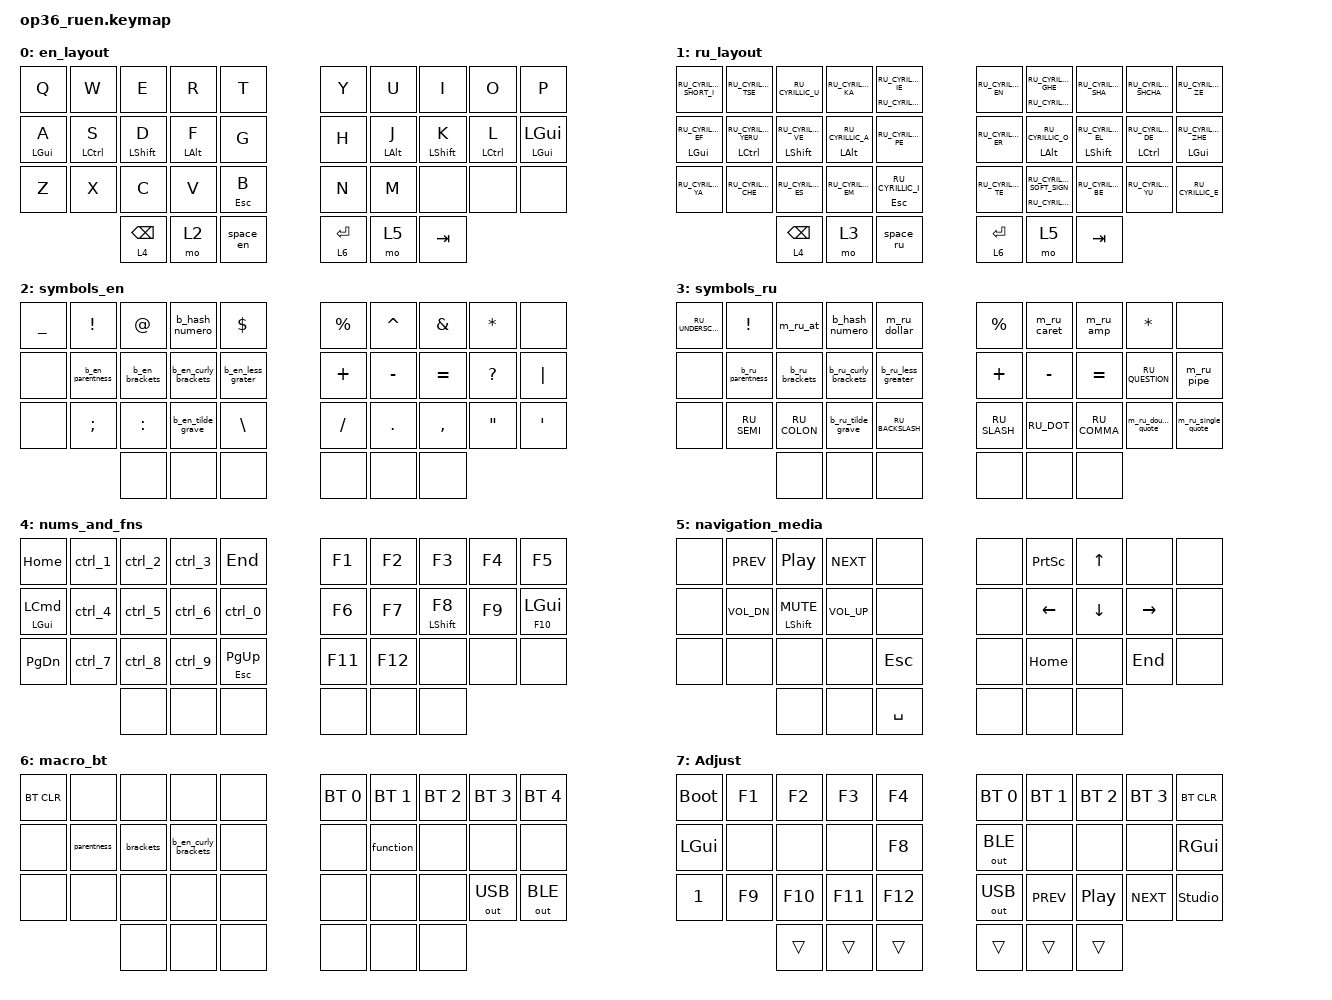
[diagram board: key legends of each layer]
#include "keys_ru.h"
#include <behaviors.dtsi>
#include <dt-bindings/zmk/bt.h>
#include <dt-bindings/zmk/keys.h>
#include <dt-bindings/zmk/outputs.h>

/ {
    behaviors {
        hml: home_row_mod_left {
            compatible = "zmk,behavior-hold-tap";
            #binding-cells = <2>;
            flavor = "balanced";
            require-prior-idle-ms = <150>;
            tapping-term-ms = <280>;
            quick-tap-ms = <175>;
            bindings = <&kp>, <&kp>;

            hold-trigger-key-positions = <5 6 7 8 9 15 16 17 18 19 25 26 27 28 29 33 34 35>;
            hold-trigger-on-release;
        };

        hmr: home_row_mod_right {
            compatible = "zmk,behavior-hold-tap";
            #binding-cells = <2>;
            flavor = "balanced";
            require-prior-idle-ms = <150>;
            tapping-term-ms = <280>;
            quick-tap-ms = <175>;
            bindings = <&kp>, <&kp>;

            hold-trigger-key-positions = <0 1 2 3 4 10 11 12 13 14 20 21 22 23 24 30 31 32>;
            hold-trigger-on-release;
        };

        ctrl_1: ctrl_1 {
            compatible = "zmk,behavior-tap-dance";
            label = "CTRL_1";
            #binding-cells = <0>;
            bindings = <&kp N1>, <&ctrl_one>;
        };

        ctrl_2: ctrl_2 {
            compatible = "zmk,behavior-tap-dance";
            label = "CTRL_2";
            #binding-cells = <0>;
            bindings = <&kp N2>, <&ctrl_two>;
        };

        ctrl_3: ctrl_3 {
            compatible = "zmk,behavior-tap-dance";
            label = "CTRL_3";
            #binding-cells = <0>;
            bindings = <&kp N3>, <&ctrl_three>;
        };

        ctrl_4: ctrl_4 {
            compatible = "zmk,behavior-tap-dance";
            label = "CTRL_4";
            #binding-cells = <0>;
            bindings = <&kp N4>, <&ctrl_four>;
        };

        ctrl_5: ctrl_5 {
            compatible = "zmk,behavior-tap-dance";
            label = "CTRL_5";
            #binding-cells = <0>;
            bindings = <&kp N5>, <&ctrl_five>;
        };

        ctrl_6: ctrl_6 {
            compatible = "zmk,behavior-tap-dance";
            label = "CTRL_6";
            #binding-cells = <0>;
            bindings = <&kp N6>, <&ctrl_six>;
        };

        ctrl_7: ctrl_7 {
            compatible = "zmk,behavior-tap-dance";
            label = "CTRL_7";
            #binding-cells = <0>;
            bindings = <&kp N7>, <&ctrl_seven>;
        };

        ctrl_8: ctrl_8 {
            compatible = "zmk,behavior-tap-dance";
            label = "CTRL_8";
            #binding-cells = <0>;
            bindings = <&kp N8>, <&ctrl_eight>;
        };

        ctrl_9: ctrl_9 {
            compatible = "zmk,behavior-tap-dance";
            label = "CTRL_9";
            #binding-cells = <0>;
            bindings = <&kp N9>, <&ctrl_nine>;
        };

        ctrl_0: ctrl_0 {
            compatible = "zmk,behavior-tap-dance";
            label = "CTRL_0";
            #binding-cells = <0>;
            bindings = <&kp N0>, <&ctrl_zero>;
        };

        space_en: space_en {
            compatible = "zmk,behavior-tap-dance";
            label = "SPACE_EN";
            #binding-cells = <0>;
            bindings = <&kp SPACE>, <&space_comma_en>, <&space_dot_en>;
        };

        space_ru: space_ru {
            compatible = "zmk,behavior-tap-dance";
            label = "SPACE_RU";
            #binding-cells = <0>;
            bindings = <&kp SPACE>, <&space_comma_ru>, <&space_dot_ru>;
        };

        b_en_curly_brackets: b_en_curly_brackets {
            compatible = "zmk,behavior-tap-dance";
            label = "B_EN_CURLY_BRACKETS";
            #binding-cells = <0>;
            bindings = <&kp LEFT_BRACE>, <&kp RIGHT_BRACE>;
        };

        b_en_brackets: b_en_brackets {
            compatible = "zmk,behavior-tap-dance";
            label = "B_EN_BRACKETS";
            #binding-cells = <0>;
            bindings = <&kp LEFT_BRACKET>, <&kp RIGHT_BRACKET>;
        };

        b_en_parentness: b_en_parentness {
            compatible = "zmk,behavior-tap-dance";
            label = "B_EN_PARENTNESS";
            #binding-cells = <0>;
            bindings = <&kp LPAR>, <&kp RPAR>;
        };

        b_en_less_grater: b_en_less_grater {
            compatible = "zmk,behavior-tap-dance";
            label = "B_EN_LESS_GRATER";
            #binding-cells = <0>;
            bindings = <&kp LT>, <&kp GT>;
        };

        b_ru_tilde_grave: b_ru_tilde_grave {
            compatible = "zmk,behavior-tap-dance";
            label = "B_RU_TILDE_GRAVE";
            #binding-cells = <0>;
            bindings = <&m_ru_tilde>, <&m_ru_grave>;
        };

        b_hash_numero: b_hash_numero {
            compatible = "zmk,behavior-tap-dance";
            label = "B_HASH_NUMERO";
            #binding-cells = <0>;
            bindings = <&m_ru_hash>, <&m_en_numero>;
        };

        b_ru_curly_brackets: b_ru_curly_brackets {
            compatible = "zmk,behavior-tap-dance";
            label = "B_RU_CURLY_BRACKETS";
            #binding-cells = <0>;
            bindings = <&m_ru_curly_bracket_open>, <&m_ru_curly_bracket_close>;
        };

        b_ru_brackets: b_ru_brackets {
            compatible = "zmk,behavior-tap-dance";
            label = "B_RU_BRACKETS";
            #binding-cells = <0>;
            bindings = <&m_ru_bracket_open>, <&m_ru_bracket_close>;
        };

        b_ru_parentness: b_ru_parentness {
            compatible = "zmk,behavior-tap-dance";
            label = "B_RU_PARENTNESS";
            #binding-cells = <0>;
            bindings = <&kp LPAR>, <&kp RPAR>;
        };

        b_ru_less_greater: b_ru_less_greater {
            compatible = "zmk,behavior-tap-dance";
            label = "B_RU_LESS_GREATER";
            #binding-cells = <0>;
            bindings = <&m_ru_less>, <&m_ru_greater>;
        };

        b_en_tilde_grave: b_en_tilde_grave {
            compatible = "zmk,behavior-tap-dance";
            label = "B_EN_TILDE_GRAVE";
            #binding-cells = <0>;
            bindings = <&kp TILDE>, <&kp GRAVE>;
        };
    };

    combos {
        compatible = "zmk,combos";

        switch_to_en {
            bindings = <&to_en>;
            key-positions = <2 3>;
            layers = <1>;
        };

        switch_to_ru {
            bindings = <&to_ru>;
            key-positions = <2 3>;
            layers = <0>;
        };
    };

    macros {
        parentness: parentness {
            compatible = "zmk,behavior-macro";
            #binding-cells = <0>;
            bindings = <&kp LPAR &kp RPAR &kp LEFT>;
            label = "PARENTNESS";
        };

        brackets: brackets {
            compatible = "zmk,behavior-macro";
            #binding-cells = <0>;
            bindings = <&kp LEFT_BRACKET &kp RIGHT_BRACKET &kp LEFT_ARROW>;
            label = "BRACKETS";
        };

        curly_brackets: curly_brackets {
            compatible = "zmk,behavior-macro";
            #binding-cells = <0>;
            bindings = <&kp LEFT_BRACE &kp RIGHT_BRACE &kp LEFT>;
            label = "CURLY_BRACKETS";
        };

        function: function {
            compatible = "zmk,behavior-macro";
            #binding-cells = <0>;
            bindings = <&kp F &kp U &kp N &kp C &kp T &kp I &kp O &kp N &kp SPACE &kp LPAR &kp RPAR &kp SPACE &kp LBRC &kp RET &kp LEFT_ARROW &kp LEFT &kp LEFT &kp LEFT &kp LEFT &kp LEFT>;
            label = "FUNCTION";
        };

        ctrl_one: ctrl_one {
            compatible = "zmk,behavior-macro";
            #binding-cells = <0>;
            bindings = <&kp LCTRL &kp N1>;
            label = "CTRL_ONE";
        };

        ctrl_two: ctrl_two {
            compatible = "zmk,behavior-macro";
            #binding-cells = <0>;
            bindings = <&kp LCTRL &kp NUMBER_2>;
            label = "CTRL_TWO";
        };

        ctrl_three: ctrl_three {
            compatible = "zmk,behavior-macro";
            #binding-cells = <0>;
            bindings = <&kp LCTRL &kp NUMBER_3>;
            label = "CTRL_THREE";
        };

        ctrl_four: ctrl_four {
            compatible = "zmk,behavior-macro";
            #binding-cells = <0>;
            bindings = <&kp LCTRL &kp NUMBER_4>;
            label = "CTRL_FOUR";
        };

        ctrl_five: ctrl_five {
            compatible = "zmk,behavior-macro";
            #binding-cells = <0>;
            bindings = <&kp LCTRL &kp N5>;
            label = "CTRL_FIVE";
        };

        ctrl_six: ctrl_six {
            compatible = "zmk,behavior-macro";
            #binding-cells = <0>;
            bindings = <&kp LCTRL &kp N6>;
            label = "CTRL_SIX";
        };

        ctrl_seven: ctrl_seven {
            compatible = "zmk,behavior-macro";
            #binding-cells = <0>;
            bindings = <&kp LCTRL &kp N7>;
            label = "CTRL_SEVEN";
        };

        ctrl_eight: ctrl_eight {
            compatible = "zmk,behavior-macro";
            #binding-cells = <0>;
            bindings = <&kp LCTRL &kp N8>;
            label = "CTRL_EIGHT";
        };

        ctrl_nine: ctrl_nine {
            compatible = "zmk,behavior-macro";
            #binding-cells = <0>;
            bindings = <&kp LCTRL &kp N9>;
            label = "CTRL_NINE";
        };

        ctrl_zero: ctrl_zero {
            compatible = "zmk,behavior-macro";
            #binding-cells = <0>;
            bindings = <&kp LCTRL &kp N0>;
            label = "CTRL_ZERO";
        };

        space_comma_en: space_comma_en {
            compatible = "zmk,behavior-macro";
            #binding-cells = <0>;
            bindings = <&kp COMMA &kp SPACE>;
            label = "SPACE_COMMA_EN";
        };

        space_dot_en: space_dot_en {
            compatible = "zmk,behavior-macro";
            #binding-cells = <0>;
            bindings = <&kp DOT &kp SPACE>;
            label = "SPACE_DOT_EN";
        };

        space_comma_ru: space_comma_ru {
            compatible = "zmk,behavior-macro";
            #binding-cells = <0>;
            bindings = <&kp RU_COMMA &kp SPACE>;
            label = "SPACE_COMMA_RU";
        };

        space_dot_ru: space_dot_ru {
            compatible = "zmk,behavior-macro";
            #binding-cells = <0>;
            bindings = <&kp RU_DOT &kp SPACE>;
            label = "SPACE_DOT_RU";
        };

        to_en: to_en {
            compatible = "zmk,behavior-macro";
            #binding-cells = <0>;
            bindings = <&kp LS(LALT) &to 0>;
            label = "TO_EN";
        };

        to_ru: to_ru {
            compatible = "zmk,behavior-macro";
            #binding-cells = <0>;
            bindings = <&kp LS(LALT) &to 1>;
            label = "TO_RU";
        };

        m_ru_single_quote: m_single_quote {
            compatible = "zmk,behavior-macro";
            #binding-cells = <0>;
            bindings = <&to_en &kp APOSTROPHE &to_ru>;
            label = "M_SINGLE_QUOTE";
        };

        m_ru_double_quote: m_double_quote {
            compatible = "zmk,behavior-macro";
            #binding-cells = <0>;
            bindings = <&to_en &kp DOUBLE_QUOTES &to_ru>;
            label = "M_DOUBLE_QUOTE";
        };

        m_ru_curly_bracket_open: ru_curly_brackets {
            compatible = "zmk,behavior-macro";
            #binding-cells = <0>;
            bindings = <&to_en &kp LEFT_BRACE &to_ru>;
            label = "RU_CURLY_BRACKETS";
        };

        m_ru_curly_bracket_close: m_en_curly_bracket_close {
            compatible = "zmk,behavior-macro";
            #binding-cells = <0>;
            bindings = <&to_en &kp RIGHT_BRACE &to_ru>;
            label = "M_EN_CURLY_BRACKET_CLOSE";
        };

        m_ru_bracket_open: ru_bracket_open {
            compatible = "zmk,behavior-macro";
            #binding-cells = <0>;
            bindings = <&to_en &kp LEFT_BRACKET &to_ru>;
            label = "RU_BRACKET_OPEN";
        };

        m_ru_bracket_close: ru_bracket_close {
            compatible = "zmk,behavior-macro";
            #binding-cells = <0>;
            bindings = <&to_en &kp RIGHT_BRACKET &to_ru>;
            label = "RU_BRACKET_CLOSE";
        };

        m_ru_tilde: m_tilde {
            compatible = "zmk,behavior-macro";
            #binding-cells = <0>;
            bindings = <&to_en &kp TILDE &to_ru>;
            label = "M_TILDE";
        };

        m_ru_grave: m_apos {
            compatible = "zmk,behavior-macro";
            #binding-cells = <0>;
            bindings = <&to_en &kp GRAVE &to_ru>;
            label = "M_APOS";
        };

        m_ru_hash: m_en_hash {
            compatible = "zmk,behavior-macro";
            #binding-cells = <0>;
            bindings = <&to_en &kp HASH &to_ru>;
            label = "M_EN_HASH";
        };

        m_en_numero: m_en_numero {
            compatible = "zmk,behavior-macro";
            #binding-cells = <0>;
            bindings = <&to_ru &kp RU_NUMERO &to_en>;
            label = "M_EN_NUMERO";
        };

        m_ru_at: m_at {
            compatible = "zmk,behavior-macro";
            #binding-cells = <0>;
            bindings = <&to_en &kp AT_SIGN &to_ru>;
            label = "M_AT";
        };

        m_ru_amp: m_amp {
            compatible = "zmk,behavior-macro";
            #binding-cells = <0>;
            bindings = <&to_en &kp AMPERSAND &to_ru>;
            label = "M_AMP";
        };

        m_ru_caret: m_caret {
            compatible = "zmk,behavior-macro";
            #binding-cells = <0>;
            bindings = <&to_en &kp CARET &to_ru>;
            label = "M_CARET";
        };

        m_ru_dollar: m_ru_dollar {
            compatible = "zmk,behavior-macro";
            #binding-cells = <0>;
            bindings = <&to_en &kp DOLLAR &to_ru>;
            label = "M_RU_DOLLAR";
        };

        m_ru_pipe: m_ru_pipe {
            compatible = "zmk,behavior-macro";
            #binding-cells = <0>;
            bindings = <&to_en &kp PIPE &to_ru>;
            label = "M_RU_PIPE";
        };

        m_ru_greater: m_ru_greater {
            compatible = "zmk,behavior-macro";
            #binding-cells = <0>;
            bindings = <&to_en &kp GREATER_THAN &to_ru>;
            label = "M_RU_GREATER";
        };

        m_ru_less: b_less_than {
            compatible = "zmk,behavior-macro";
            #binding-cells = <0>;
            bindings = <&to_en &kp LESS_THAN &to_ru>;
            label = "B_LESS_THAN";
        };
    };

    keymap {
        compatible = "zmk,keymap";

        en_layout {
            bindings = <
  &kp Q        &kp W         &kp E              &kp R            &kp T                                &kp Y  &kp U            &kp I         &kp O         &kp P
  &hml LGUI A  &hml LCTRL S  &hml LEFT_SHIFT D  &hml LALT F      &kp G                                &kp H  &hmr LEFT_ALT J  &hmr LSHFT K  &hmr LCTRL L  &hmr LGUI LEFT_GUI
  &kp Z        &kp X         &kp C              &kp V            &mt ESC B                            &kp N  &kp M            &none         &none         &none
                                                &lt 4 BACKSPACE  &mo 2      &space_en    &lt 6 ENTER  &mo 5  &kp TAB
            >;

            display-name = "en_layout";
        };

        ru_layout {
            display-name = "ru_layout";
            bindings = <
  &kp RU_CYRILLIC_SHORT_I   &kp RU_CYRILLIC_TSE          &kp RU_CYRILLIC_U           &kp RU_CYRILLIC_KA           &mt RU_CYRILLIC_IO RU_CYRILLIC_IE                            &kp RU_CYRILLIC_EN  &mt RU_CYRILLIC_HA RU_CYRILLIC_GHE               &kp RU_CYRILLIC_SHA        &kp RU_CYRILLIC_SHCHA     &kp RU_CYRILLIC_ZE
  &hml LGUI RU_CYRILLIC_EF  &hml LCTRL RU_CYRILLIC_YERU  &hml LSHIFT RU_CYRILLIC_VE  &hml LEFT_ALT RU_CYRILLIC_A  &kp RU_CYRILLIC_PE                                           &kp RU_CYRILLIC_ER  &hmr LEFT_ALT RU_CYRILLIC_O                      &hmr LSHFT RU_CYRILLIC_EL  &mt LCTRL RU_CYRILLIC_DE  &mt LGUI RU_CYRILLIC_ZHE
  &kp RU_CYRILLIC_YA        &kp RU_CYRILLIC_CHE          &kp RU_CYRILLIC_ES          &kp RU_CYRILLIC_EM           &mt ESC RU_CYRILLIC_I                                        &kp RU_CYRILLIC_TE  &mt RU_CYRILLIC_HARD_SIGN RU_CYRILLIC_SOFT_SIGN  &kp RU_CYRILLIC_BE         &kp RU_CYRILLIC_YU        &kp RU_CYRILLIC_E
                                                                                     &lt 4 BACKSPACE              &mo 3                              &space_ru    &lt 6 ENTER  &mo 5               &kp TAB
            >;
        };

        symbols_en {
            bindings = <
  &kp UNDER  &kp EXCL          &kp AT_SIGN     &b_hash_numero        &kp DOLLAR                         &kp PRCNT  &kp CARET  &kp AMPERSAND  &kp ASTRK          &none
  &none      &b_en_parentness  &b_en_brackets  &b_en_curly_brackets  &b_en_less_grater                  &kp PLUS   &kp MINUS  &kp EQUAL      &kp QMARK          &kp PIPE
  &none      &kp SEMI          &kp COLON       &b_en_tilde_grave     &kp BSLH                           &kp FSLH   &kp DOT    &kp COMMA      &kp DOUBLE_QUOTES  &kp SINGLE_QUOTE
                                               &none                 &none              &none    &none  &none      &none
            >;
        };

        symbols_ru {
            bindings = <
  &kp RU_UNDERSCORE  &kp EXCL          &m_ru_at        &b_hash_numero        &m_ru_dollar                        &kp PRCNT     &m_ru_caret  &m_ru_amp     &kp ASTRK           &none
  &none              &b_ru_parentness  &b_ru_brackets  &b_ru_curly_brackets  &b_ru_less_greater                  &kp PLUS      &kp MINUS    &kp EQUAL     &kp RU_QUESTION     &m_ru_pipe
  &none              &kp RU_SEMI       &kp RU_COLON    &b_ru_tilde_grave     &kp RU_BACKSLASH                    &kp RU_SLASH  &kp RU_DOT   &kp RU_COMMA  &m_ru_double_quote  &m_ru_single_quote
                                                       &none                 &none               &none    &none  &none         &none
            >;
        };

        nums_and_fns {
            bindings = <
  &kp HOME       &ctrl_1  &ctrl_2  &ctrl_3  &kp END                        &kp F1   &kp F2   &kp F3         &kp F4  &kp F5
  &mt LGUI LCMD  &ctrl_4  &ctrl_5  &ctrl_6  &ctrl_0                        &kp F6   &kp F7   &mt LSHIFT F8  &kp F9  &mt F10 LGUI
  &kp PAGE_DOWN  &ctrl_7  &ctrl_8  &ctrl_9  &mt ESC PG_UP                  &kp F11  &kp F12  &none          &none   &none
                                   &none    &none          &none    &none  &none    &none
            >;
        };

        navigation_media {
            bindings = <
  &none  &kp C_PREV    &kp C_PLAY_PAUSE   &kp C_NEXT    &none                        &none  &kp PRINTSCREEN  &kp UP    &none      &none
  &none  &kp C_VOL_DN  &mt LSHIFT C_MUTE  &kp C_VOL_UP  &none                        &none  &kp LEFT         &kp DOWN  &kp RIGHT  &none
  &none  &none         &none              &none         &kp ESC                      &none  &kp HOME         &none     &kp END    &none
                                          &none         &none    &kp SPACE    &none  &none  &none
            >;
        };

        macro_bt {
            bindings = <
  &bt BT_CLR  &none        &none      &none                 &none                  &bt BT_SEL 0  &bt BT_SEL 1  &bt BT_SEL 2  &bt BT_SEL 3  &bt BT_SEL 4
  &none       &parentness  &brackets  &b_en_curly_brackets  &none                  &none         &function     &none         &none         &none
  &none       &none        &none      &none                 &none                  &none         &none         &none         &out OUT_USB  &out OUT_BLE
                                      &none                 &none  &none    &none  &none         &none
            >;
        };

        adj {
            bindings = <
  &bootloader  &kp F1  &kp F2   &kp F3   &kp F4                     &bt BT_SEL 0  &bt BT_SEL 1  &bt BT_SEL 2  &bt BT_SEL 3  &bt BT_CLR
  &kp LGUI     &none   &none    &none    &kp F8                     &out OUT_BLE  &none         &none         &none         &kp RGUI
  &kp N1       &kp F9  &kp F10  &kp F11  &kp F12                    &out OUT_USB  &kp C_PREV    &kp C_PP      &kp C_NEXT    &studio_unlock
                                &trans   &trans   &trans    &trans  &trans        &trans
            >;

            display-name = "Adjust";
        };
    };
};
